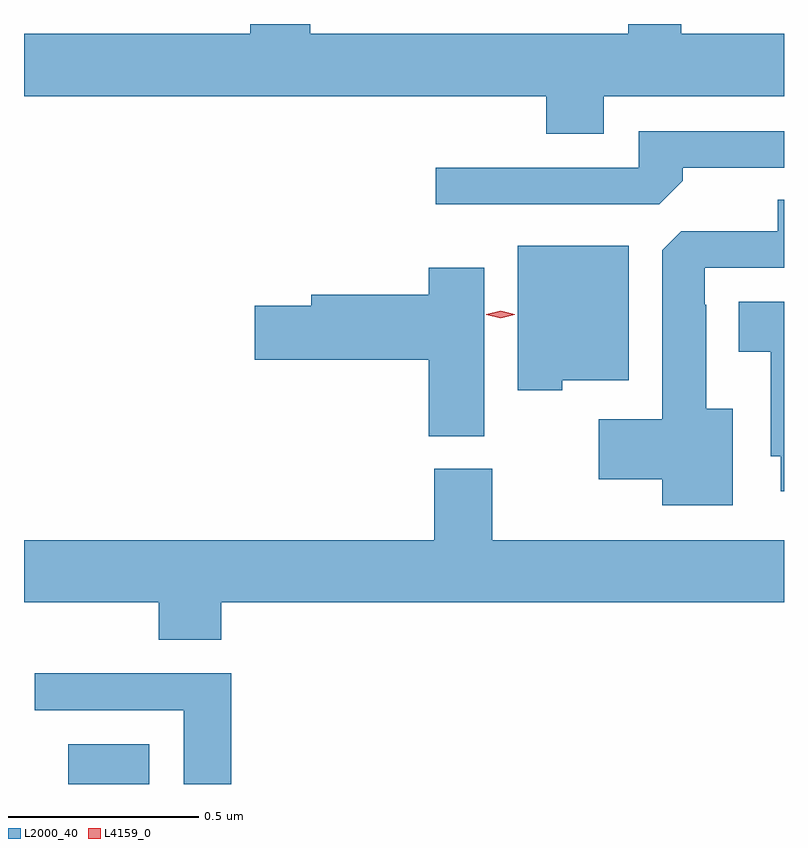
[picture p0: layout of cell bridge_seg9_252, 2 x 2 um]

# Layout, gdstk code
import gdstk
lib = gdstk.Library(unit=1e-6, precision=1e-09)
def R(c, l, rs):  # rectangles x0, y0, x1, y1
    for r in rs: c.add(gdstk.rectangle(r[:2], r[2:], *l))
def P(c, l, *ps):  # polygons
    for p in ps: c.add(gdstk.Polygon(p, *l))
L2000_40 = (2000, 40)
L4159_0 = (4159, 0)

bridge_seg9_252 = lib.new_cell('bridge_seg9_252')
R(bridge_seg9_252, L2000_40, [(276.068,1195.942,276.28,1196.047)])
P(bridge_seg9_252, L2000_40, [(277.477,1197.752),(277.951,1197.752),(277.951,1197.916),(277.681,1197.916),(277.681,1197.942),(277.541,1197.942),(277.541,1197.916),(276.704,1197.916),(276.704,1197.942),(276.547,1197.942),(276.547,1197.916),(275.951,1197.916),(275.951,1197.752),(277.325,1197.752),(277.325,1197.653),(277.477,1197.653)],
  [(277.685,1197.53),(277.685,1197.564),(277.951,1197.564),(277.951,1197.66),(277.569,1197.66),(277.569,1197.564),(277.035,1197.564),(277.035,1197.468),(277.623,1197.468)],
  [(277.816,1196.929),(277.747,1196.929),(277.747,1197.203),(277.743,1197.203),(277.743,1197.3),(277.951,1197.3),(277.951,1197.479),(277.934,1197.479),(277.934,1197.396),(277.68,1197.396),(277.631,1197.347),(277.631,1196.902),(277.464,1196.902),(277.464,1196.744),(277.631,1196.744),(277.631,1196.675),(277.816,1196.675)],
  [(277.368,1197.005),(277.543,1197.005),(277.543,1197.358),(277.25,1197.358),(277.25,1196.978),(277.368,1196.978)],
  [(277.162,1197.301),(277.016,1197.301),(277.016,1197.23),(276.707,1197.23),(276.707,1197.2),(276.558,1197.2),(276.558,1197.058),(277.016,1197.058),(277.016,1196.857),(277.162,1196.857)],
  [(277.951,1197.211),(277.832,1197.211),(277.832,1197.08),(277.916,1197.08),(277.916,1196.805),(277.943,1196.805),(277.943,1196.712),(277.951,1196.712)],
  [(276.47,1196.42),(277.951,1196.42),(277.951,1196.584),(277.183,1196.584),(277.183,1196.772),(277.031,1196.772),(277.031,1196.584),(275.951,1196.584),(275.951,1196.42),(276.305,1196.42),(276.305,1196.321),(276.47,1196.321)],
  [(276.497,1196.234),(275.979,1196.234),(275.979,1196.136),(276.371,1196.136),(276.371,1195.942),(276.497,1195.942)])
P(bridge_seg9_252, L4159_0, [(277.205,1197.168),(277.167,1197.177),(277.167,1197.178),(277.167,1197.178),(277.205,1197.187),(277.243,1197.178),(277.243,1197.177),(277.243,1197.177)])

lib.write_gds('bridge_seg9_252.gds')
